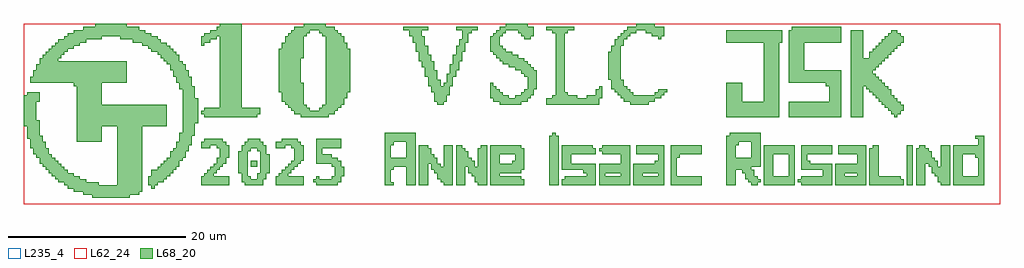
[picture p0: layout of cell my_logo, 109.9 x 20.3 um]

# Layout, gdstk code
import gdstk
lib = gdstk.Library(unit=1e-6, precision=1e-09)
def R(c, l, rs):  # rectangles x0, y0, x1, y1
    for r in rs: c.add(gdstk.rectangle(r[:2], r[2:], *l))
def A(c, l, x, y, w, h, nx, ny, dx, dy):  # array of equal rectangles
    R(c, l, [(x+i*dx, y+j*dy, x+i*dx+w, y+j*dy+h) for i in range(nx) for j in range(ny)])
L62_24 = (62, 24)
L68_20 = (68, 20)
L235_4 = (235, 4)

my_logo = lib.new_cell('my_logo')
R(my_logo, L62_24, [(0,0,109.9,20.3)])
A(my_logo, L68_20, 7.7, 0.7, 0.35, 0.35, 12, 1, 0.35, 0)
A(my_logo, L68_20, 6.65, 1.05, 0.35, 0.35, 18, 2, 0.35, 18.55)
A(my_logo, L68_20, 5.6, 1.4, 0.35, 0.35, 22, 1, 0.35, 0)
A(my_logo, L68_20, 4.9, 1.75, 0.35, 0.35, 24, 1, 0.35, 0)
A(my_logo, L68_20, 4.55, 2.1, 0.35, 0.35, 11, 1, 0.35, 0)
A(my_logo, L68_20, 10.5, 2.1, 0.35, 0.35, 8, 19, 0.35, 0.35)
A(my_logo, L68_20, 14, 2.1, 0.35, 0.35, 3, 1, 0.35, 0)
A(my_logo, L68_20, 19.95, 2.1, 0.35, 0.35, 9, 3, 0.35, 0.35)
A(my_logo, L68_20, 24.85, 2.1, 0.35, 0.35, 6, 2, 0.35, 4.55)
A(my_logo, L68_20, 28.35, 2.1, 0.35, 0.35, 9, 3, 0.35, 0.35)
A(my_logo, L68_20, 32.9, 2.1, 0.35, 0.35, 7, 2, 0.35, 2.8)
A(my_logo, L68_20, 40.6, 2.1, 0.35, 0.35, 3, 2, 0.35, 1.75)
A(my_logo, L68_20, 43.05, 2.1, 0.35, 0.35, 3, 6, 0.35, 0.35)
A(my_logo, L68_20, 44.45, 2.1, 0.35, 0.35, 3, 7, 0.35, 0.35)
A(my_logo, L68_20, 47.25, 2.1, 0.35, 0.35, 3, 2, 0.35, 2.1)
A(my_logo, L68_20, 48.65, 2.1, 0.35, 0.35, 3, 6, 0.35, 0.35)
A(my_logo, L68_20, 51.1, 2.1, 0.35, 0.35, 3, 2, 0.35, 2.1)
A(my_logo, L68_20, 52.5, 2.1, 0.35, 0.35, 11, 2, 0.35, 0.35)
A(my_logo, L68_20, 59.15, 2.1, 0.35, 0.35, 3, 16, 0.35, 0.35)
A(my_logo, L68_20, 60.55, 2.1, 0.35, 0.35, 11, 2, 0.35, 0.35)
A(my_logo, L68_20, 64.75, 2.1, 0.35, 0.35, 10, 3, 0.35, 0.35)
A(my_logo, L68_20, 68.6, 2.1, 0.35, 0.35, 10, 3, 0.35, 0.35)
A(my_logo, L68_20, 72.8, 2.1, 0.35, 0.35, 10, 3, 0.35, 0.35)
A(my_logo, L68_20, 79.1, 2.1, 0.35, 0.35, 3, 5, 0.35, 0.35)
A(my_logo, L68_20, 83.3, 2.1, 0.35, 0.35, 10, 3, 0.35, 0.35)
A(my_logo, L68_20, 87.5, 2.1, 0.35, 0.35, 10, 2, 0.35, 0.7)
A(my_logo, L68_20, 91.35, 2.1, 0.35, 0.35, 10, 3, 0.35, 0.35)
A(my_logo, L68_20, 95.2, 2.1, 0.35, 0.35, 11, 2, 0.35, 0.35)
A(my_logo, L68_20, 99.4, 2.1, 0.35, 0.35, 1, 13, 0, 0.35)
A(my_logo, L68_20, 99.75, 2.1, 0.35, 0.35, 1, 13, 0, 0.35)
A(my_logo, L68_20, 100.45, 2.1, 0.35, 0.35, 3, 7, 0.35, 0.35)
A(my_logo, L68_20, 103.25, 2.1, 0.35, 0.35, 3, 2, 0.35, 2.1)
A(my_logo, L68_20, 104.65, 2.1, 0.35, 0.35, 10, 3, 0.35, 0.35)
A(my_logo, L68_20, 3.85, 2.45, 0.35, 0.35, 9, 2, 0.35, 15.75)
A(my_logo, L68_20, 14, 2.45, 0.35, 0.35, 5, 1, 0.35, 0)
A(my_logo, L68_20, 24.5, 2.45, 0.35, 0.35, 7, 1, 0.35, 0)
A(my_logo, L68_20, 32.55, 2.45, 0.35, 0.35, 9, 1, 0.35, 0)
A(my_logo, L68_20, 40.6, 2.45, 0.35, 0.35, 1, 4, 0, 0.35)
A(my_logo, L68_20, 40.95, 2.45, 0.35, 0.35, 1, 4, 0, 0.35)
A(my_logo, L68_20, 46.9, 2.45, 0.35, 0.35, 4, 1, 0.35, 0)
A(my_logo, L68_20, 50.75, 2.45, 0.35, 0.35, 4, 2, 0.35, 0.35)
A(my_logo, L68_20, 81.55, 2.45, 0.35, 0.35, 4, 1, 0.35, 0)
A(my_logo, L68_20, 87.15, 2.45, 0.35, 0.35, 11, 1, 0.35, 0)
A(my_logo, L68_20, 102.9, 2.45, 0.35, 0.35, 4, 2, 0.35, 0.35)
A(my_logo, L68_20, 3.5, 2.8, 0.35, 0.35, 8, 2, 0.35, 15.05)
A(my_logo, L68_20, 14, 2.8, 0.35, 0.35, 6, 1, 0.35, 0)
A(my_logo, L68_20, 24.5, 2.8, 0.35, 0.35, 3, 2, 0.35, 3.15)
A(my_logo, L68_20, 26.25, 2.8, 0.35, 0.35, 3, 2, 0.35, 0.35)
A(my_logo, L68_20, 34.65, 2.8, 0.35, 0.35, 3, 2, 0.35, 1.4)
A(my_logo, L68_20, 46.55, 2.8, 0.35, 0.35, 5, 2, 0.35, 0.35)
A(my_logo, L68_20, 52.5, 2.8, 0.35, 0.35, 10, 2, 0.35, 0.7)
A(my_logo, L68_20, 60.9, 2.8, 0.35, 0.35, 10, 1, 0.35, 0)
A(my_logo, L68_20, 81.2, 2.8, 0.35, 0.35, 4, 1, 0.35, 0)
A(my_logo, L68_20, 95.2, 2.8, 0.35, 0.35, 10, 1, 0.35, 0)
A(my_logo, L68_20, 3.15, 3.15, 0.35, 0.35, 7, 2, 0.35, 14.35)
A(my_logo, L68_20, 14.35, 3.15, 0.35, 0.35, 6, 1, 0.35, 0)
A(my_logo, L68_20, 20.3, 3.15, 0.35, 0.35, 3, 1, 0.35, 0)
A(my_logo, L68_20, 28.7, 3.15, 0.35, 0.35, 3, 1, 0.35, 0)
A(my_logo, L68_20, 35, 3.15, 0.35, 0.35, 3, 3, 0.35, 0.35)
A(my_logo, L68_20, 50.4, 3.15, 0.35, 0.35, 5, 1, 0.35, 0)
A(my_logo, L68_20, 52.5, 3.15, 0.35, 0.35, 3, 2, 0.35, 1.4)
A(my_logo, L68_20, 63.35, 3.15, 0.35, 0.35, 3, 1, 0.35, 0)
A(my_logo, L68_20, 67.2, 3.15, 0.35, 0.35, 3, 2, 0.35, 1.4)
A(my_logo, L68_20, 68.6, 3.15, 0.35, 0.35, 3, 1, 0.35, 0)
A(my_logo, L68_20, 72.8, 3.15, 0.35, 0.35, 1, 6, 0, 0.35)
A(my_logo, L68_20, 73.15, 3.15, 0.35, 0.35, 1, 6, 0, 0.35)
A(my_logo, L68_20, 81.2, 3.15, 0.35, 0.35, 3, 1, 0.35, 0)
A(my_logo, L68_20, 83.3, 3.15, 0.35, 0.35, 3, 7, 0.35, 0.35)
A(my_logo, L68_20, 86.1, 3.15, 0.35, 0.35, 1, 7, 0, 0.35)
A(my_logo, L68_20, 86.45, 3.15, 0.35, 0.35, 1, 7, 0, 0.35)
A(my_logo, L68_20, 89.95, 3.15, 0.35, 0.35, 3, 2, 0.35, 0.35)
A(my_logo, L68_20, 91.35, 3.15, 0.35, 0.35, 3, 1, 0.35, 0)
A(my_logo, L68_20, 93.8, 3.15, 0.35, 0.35, 3, 2, 0.35, 1.4)
A(my_logo, L68_20, 95.2, 3.15, 0.35, 0.35, 3, 9, 0.35, 0.35)
A(my_logo, L68_20, 102.55, 3.15, 0.35, 0.35, 5, 1, 0.35, 0)
A(my_logo, L68_20, 104.65, 3.15, 0.35, 0.35, 3, 7, 0.35, 0.35)
A(my_logo, L68_20, 107.45, 3.15, 0.35, 0.35, 1, 6, 0, 0.35)
A(my_logo, L68_20, 107.8, 3.15, 0.35, 0.35, 1, 6, 0, 0.35)
A(my_logo, L68_20, 2.8, 3.5, 0.35, 0.35, 6, 2, 0.35, 13.65)
A(my_logo, L68_20, 14.35, 3.5, 0.35, 0.35, 7, 2, 0.35, 13.65)
A(my_logo, L68_20, 20.65, 3.5, 0.35, 0.35, 3, 1, 0.35, 0)
A(my_logo, L68_20, 24.15, 3.5, 0.35, 0.35, 3, 7, 0.35, 0.35)
A(my_logo, L68_20, 26.6, 3.5, 0.35, 0.35, 3, 6, 0.35, 0.35)
A(my_logo, L68_20, 29.05, 3.5, 0.35, 0.35, 3, 1, 0.35, 0)
A(my_logo, L68_20, 46.2, 3.5, 0.35, 0.35, 6, 1, 0.35, 0)
A(my_logo, L68_20, 50.05, 3.5, 0.35, 0.35, 6, 2, 0.35, 0.35)
A(my_logo, L68_20, 63, 3.5, 0.35, 0.35, 4, 1, 0.35, 0)
A(my_logo, L68_20, 64.75, 3.5, 0.35, 0.35, 10, 3, 0.35, 0.35)
A(my_logo, L68_20, 68.6, 3.5, 0.35, 0.35, 10, 3, 0.35, 0.35)
A(my_logo, L68_20, 80.85, 3.5, 0.35, 0.35, 4, 1, 0.35, 0)
A(my_logo, L68_20, 91.35, 3.5, 0.35, 0.35, 10, 3, 0.35, 0.35)
A(my_logo, L68_20, 102.2, 3.5, 0.35, 0.35, 6, 2, 0.35, 0.35)
A(my_logo, L68_20, 2.45, 3.85, 0.35, 0.35, 6, 2, 0.35, 12.95)
A(my_logo, L68_20, 15.05, 3.85, 0.35, 0.35, 6, 2, 0.35, 12.95)
A(my_logo, L68_20, 21, 3.85, 0.35, 0.35, 3, 1, 0.35, 0)
A(my_logo, L68_20, 29.4, 3.85, 0.35, 0.35, 3, 1, 0.35, 0)
A(my_logo, L68_20, 45.85, 3.85, 0.35, 0.35, 7, 1, 0.35, 0)
A(my_logo, L68_20, 52.5, 3.85, 0.35, 0.35, 11, 2, 0.35, 0.35)
A(my_logo, L68_20, 60.55, 3.85, 0.35, 0.35, 11, 2, 0.35, 0.35)
A(my_logo, L68_20, 79.1, 3.85, 0.35, 0.35, 8, 1, 0.35, 0)
A(my_logo, L68_20, 87.5, 3.85, 0.35, 0.35, 10, 2, 0.35, 0.35)
A(my_logo, L68_20, 2.1, 4.2, 0.35, 0.35, 6, 2, 0.35, 12.25)
A(my_logo, L68_20, 15.4, 4.2, 0.35, 0.35, 6, 2, 0.35, 12.25)
A(my_logo, L68_20, 21.35, 4.2, 0.35, 0.35, 3, 1, 0.35, 0)
A(my_logo, L68_20, 29.75, 4.2, 0.35, 0.35, 3, 1, 0.35, 0)
A(my_logo, L68_20, 40.6, 4.2, 0.35, 0.35, 10, 3, 0.35, 0.35)
A(my_logo, L68_20, 45.85, 4.2, 0.35, 0.35, 3, 1, 0.35, 0)
A(my_logo, L68_20, 48.65, 4.2, 0.35, 0.35, 6, 2, 0.35, 0.35)
A(my_logo, L68_20, 79.1, 4.2, 0.35, 0.35, 11, 3, 0.35, 0.35)
A(my_logo, L68_20, 101.85, 4.2, 0.35, 0.35, 3, 1, 0.35, 0)
A(my_logo, L68_20, 1.75, 4.55, 0.35, 0.35, 6, 2, 0.35, 11.55)
A(my_logo, L68_20, 15.75, 4.55, 0.35, 0.35, 5, 2, 0.35, 11.55)
A(my_logo, L68_20, 21.7, 4.55, 0.35, 0.35, 3, 2, 0.35, 0.35)
A(my_logo, L68_20, 30.1, 4.55, 0.35, 0.35, 3, 1, 0.35, 0)
A(my_logo, L68_20, 32.9, 4.55, 0.35, 0.35, 8, 2, 0.35, 1.75)
A(my_logo, L68_20, 44.45, 4.55, 0.35, 0.35, 6, 2, 0.35, 0.35)
A(my_logo, L68_20, 47.25, 4.55, 0.35, 0.35, 3, 6, 0.35, 0.35)
A(my_logo, L68_20, 51.1, 4.55, 0.35, 0.35, 3, 5, 0.35, 0.35)
A(my_logo, L68_20, 54.95, 4.55, 0.35, 0.35, 4, 1, 0.35, 0)
A(my_logo, L68_20, 60.55, 4.55, 0.35, 0.35, 3, 3, 0.35, 0.35)
A(my_logo, L68_20, 71.05, 4.55, 0.35, 0.35, 3, 2, 0.35, 7.7)
A(my_logo, L68_20, 87.5, 4.55, 0.35, 0.35, 3, 1, 0.35, 0)
A(my_logo, L68_20, 100.45, 4.55, 0.35, 0.35, 7, 1, 0.35, 0)
A(my_logo, L68_20, 103.25, 4.55, 0.35, 0.35, 3, 6, 0.35, 0.35)
A(my_logo, L68_20, 1.75, 4.9, 0.35, 0.35, 5, 1, 0.35, 0)
A(my_logo, L68_20, 16.1, 4.9, 0.35, 0.35, 5, 2, 0.35, 10.85)
A(my_logo, L68_20, 30.45, 4.9, 0.35, 0.35, 3, 4, 0.35, 0.35)
A(my_logo, L68_20, 48.65, 4.9, 0.35, 0.35, 5, 1, 0.35, 0)
A(my_logo, L68_20, 52.5, 4.9, 0.35, 0.35, 3, 2, 0.35, 0.35)
A(my_logo, L68_20, 55.3, 4.9, 0.35, 0.35, 3, 2, 0.35, 0.35)
A(my_logo, L68_20, 67.2, 4.9, 0.35, 0.35, 3, 2, 0.35, 0.35)
A(my_logo, L68_20, 93.8, 4.9, 0.35, 0.35, 3, 2, 0.35, 0.35)
A(my_logo, L68_20, 100.45, 4.9, 0.35, 0.35, 6, 1, 0.35, 0)
A(my_logo, L68_20, 1.4, 5.25, 0.35, 0.35, 5, 1, 0.35, 0)
A(my_logo, L68_20, 16.45, 5.25, 0.35, 0.35, 5, 2, 0.35, 0.35)
A(my_logo, L68_20, 22.05, 5.25, 0.35, 0.35, 3, 3, 0.35, 0.35)
A(my_logo, L68_20, 32.9, 5.25, 0.35, 0.35, 5, 1, 0.35, 0)
A(my_logo, L68_20, 40.6, 5.25, 0.35, 0.35, 1, 4, 0, 0.35)
A(my_logo, L68_20, 40.95, 5.25, 0.35, 0.35, 1, 4, 0, 0.35)
A(my_logo, L68_20, 43.05, 5.25, 0.35, 0.35, 3, 5, 0.35, 0.35)
A(my_logo, L68_20, 44.45, 5.25, 0.35, 0.35, 5, 1, 0.35, 0)
A(my_logo, L68_20, 48.65, 5.25, 0.35, 0.35, 4, 2, 0.35, 0.35)
A(my_logo, L68_20, 72.8, 5.25, 0.35, 0.35, 3, 1, 0.35, 0)
A(my_logo, L68_20, 79.1, 5.25, 0.35, 0.35, 3, 4, 0.35, 0.35)
A(my_logo, L68_20, 81.9, 5.25, 0.35, 0.35, 3, 5, 0.35, 0.35)
A(my_logo, L68_20, 100.45, 5.25, 0.35, 0.35, 5, 2, 0.35, 0.35)
A(my_logo, L68_20, 107.1, 5.25, 0.35, 0.35, 3, 2, 0.35, 2.1)
A(my_logo, L68_20, 1.05, 5.6, 0.35, 0.35, 5, 2, 0.35, 0.35)
A(my_logo, L68_20, 44.45, 5.6, 0.35, 0.35, 4, 2, 0.35, 0.35)
A(my_logo, L68_20, 52.5, 5.6, 0.35, 0.35, 11, 2, 0.35, 0.35)
A(my_logo, L68_20, 60.55, 5.6, 0.35, 0.35, 11, 2, 0.35, 0.35)
A(my_logo, L68_20, 65.1, 5.6, 0.35, 0.35, 9, 2, 0.35, 0.7)
A(my_logo, L68_20, 68.95, 5.6, 0.35, 0.35, 9, 3, 0.35, 0.35)
A(my_logo, L68_20, 72.8, 5.6, 0.35, 0.35, 10, 3, 0.35, 0.35)
A(my_logo, L68_20, 83.3, 5.6, 0.35, 0.35, 10, 3, 0.35, 0.35)
A(my_logo, L68_20, 87.5, 5.6, 0.35, 0.35, 10, 3, 0.35, 0.35)
A(my_logo, L68_20, 91.7, 5.6, 0.35, 0.35, 9, 3, 0.35, 0.35)
A(my_logo, L68_20, 104.65, 5.6, 0.35, 0.35, 10, 3, 0.35, 0.35)
A(my_logo, L68_20, 16.8, 5.95, 0.35, 0.35, 5, 2, 0.35, 8.4)
A(my_logo, L68_20, 26.25, 5.95, 0.35, 0.35, 3, 1, 0.35, 0)
A(my_logo, L68_20, 48.65, 5.95, 0.35, 0.35, 3, 2, 0.35, 11.2)
A(my_logo, L68_20, 64.75, 5.95, 0.35, 0.35, 10, 1, 0.35, 0)
A(my_logo, L68_20, 100.45, 5.95, 0.35, 0.35, 4, 1, 0.35, 0)
A(my_logo, L68_20, 0.7, 6.3, 0.35, 0.35, 5, 2, 0.35, 0.35)
A(my_logo, L68_20, 17.15, 6.3, 0.35, 0.35, 4, 1, 0.35, 0)
A(my_logo, L68_20, 19.95, 6.3, 0.35, 0.35, 3, 2, 0.35, 11.9)
A(my_logo, L68_20, 21.7, 6.3, 0.35, 0.35, 4, 1, 0.35, 0)
A(my_logo, L68_20, 24.5, 6.3, 0.35, 0.35, 8, 1, 0.35, 0)
A(my_logo, L68_20, 28.35, 6.3, 0.35, 0.35, 3, 1, 0.35, 0)
A(my_logo, L68_20, 30.1, 6.3, 0.35, 0.35, 4, 1, 0.35, 0)
A(my_logo, L68_20, 44.45, 6.3, 0.35, 0.35, 3, 2, 0.35, 10.5)
A(my_logo, L68_20, 52.5, 6.3, 0.35, 0.35, 10, 1, 0.35, 0)
A(my_logo, L68_20, 60.55, 6.3, 0.35, 0.35, 10, 1, 0.35, 0)
A(my_logo, L68_20, 17.15, 6.65, 0.35, 0.35, 5, 2, 0.35, 7)
A(my_logo, L68_20, 19.95, 6.65, 0.35, 0.35, 8, 1, 0.35, 0)
A(my_logo, L68_20, 28.35, 6.65, 0.35, 0.35, 8, 1, 0.35, 0)
A(my_logo, L68_20, 32.9, 6.65, 0.35, 0.35, 8, 2, 0.35, 0.35)
A(my_logo, L68_20, 40.6, 6.65, 0.35, 0.35, 3, 1, 0.35, 0)
A(my_logo, L68_20, 79.1, 6.65, 0.35, 0.35, 4, 1, 0.35, 0)
A(my_logo, L68_20, 0.7, 7, 0.35, 0.35, 4, 1, 0.35, 0)
A(my_logo, L68_20, 5.95, 7, 0.35, 0.35, 8, 5, 0.35, 0.35)
A(my_logo, L68_20, 17.5, 7, 0.35, 0.35, 4, 2, 0.35, 0.35)
A(my_logo, L68_20, 20.3, 7, 0.35, 0.35, 6, 1, 0.35, 0)
A(my_logo, L68_20, 25.2, 7, 0.35, 0.35, 4, 1, 0.35, 0)
A(my_logo, L68_20, 29.05, 7, 0.35, 0.35, 5, 1, 0.35, 0)
A(my_logo, L68_20, 40.6, 7, 0.35, 0.35, 10, 3, 0.35, 0.35)
A(my_logo, L68_20, 79.1, 7, 0.35, 0.35, 11, 2, 0.35, 0.35)
A(my_logo, L68_20, 0.35, 7.35, 0.35, 0.35, 5, 1, 0.35, 0)
A(my_logo, L68_20, 0.35, 7.7, 0.35, 0.35, 4, 3, 0.35, 0.35)
A(my_logo, L68_20, 17.5, 7.7, 0.35, 0.35, 5, 2, 0.35, 5.25)
A(my_logo, L68_20, 79.45, 7.7, 0.35, 0.35, 10, 1, 0.35, 0)
A(my_logo, L68_20, 17.85, 8.05, 0.35, 0.35, 4, 3, 0.35, 0.35)
A(my_logo, L68_20, 0, 8.75, 0.35, 0.35, 5, 2, 0.35, 0.35)
A(my_logo, L68_20, 5.95, 8.75, 0.35, 0.35, 29, 7, 0.35, 0.35)
A(my_logo, L68_20, 17.85, 9.1, 0.35, 0.35, 5, 8, 0.35, 0.35)
A(my_logo, L68_20, 0, 9.45, 0.35, 0.35, 4, 6, 0.35, 0.35)
A(my_logo, L68_20, 20.3, 9.8, 0.35, 0.35, 17, 1, 0.35, 0)
A(my_logo, L68_20, 31.15, 9.8, 0.35, 0.35, 9, 1, 0.35, 0)
A(my_logo, L68_20, 79.1, 9.8, 0.35, 0.35, 17, 5, 0.35, 0.35)
A(my_logo, L68_20, 86.1, 9.8, 0.35, 0.35, 17, 5, 0.35, 0.35)
A(my_logo, L68_20, 93.1, 9.8, 0.35, 0.35, 4, 10, 0.35, 0.35)
A(my_logo, L68_20, 19.95, 10.15, 0.35, 0.35, 19, 1, 0.35, 0)
A(my_logo, L68_20, 30.45, 10.15, 0.35, 0.35, 13, 2, 0.35, 9.45)
A(my_logo, L68_20, 97.65, 10.15, 0.35, 0.35, 3, 1, 0.35, 0)
A(my_logo, L68_20, 20.3, 10.5, 0.35, 0.35, 18, 1, 0.35, 0)
A(my_logo, L68_20, 30.1, 10.5, 0.35, 0.35, 6, 2, 0.35, 8.75)
A(my_logo, L68_20, 33.25, 10.5, 0.35, 0.35, 6, 2, 0.35, 8.75)
A(my_logo, L68_20, 97.3, 10.5, 0.35, 0.35, 5, 1, 0.35, 0)
A(my_logo, L68_20, 22.05, 10.85, 0.35, 0.35, 7, 23, 0.35, 0.35)
A(my_logo, L68_20, 29.75, 10.85, 0.35, 0.35, 6, 2, 0.35, 8.05)
A(my_logo, L68_20, 33.6, 10.85, 0.35, 0.35, 6, 2, 0.35, 8.05)
A(my_logo, L68_20, 96.95, 10.85, 0.35, 0.35, 6, 2, 0.35, 7.7)
A(my_logo, L68_20, 5.95, 11.2, 0.35, 0.35, 8, 6, 0.35, 0.35)
A(my_logo, L68_20, 29.4, 11.2, 0.35, 0.35, 6, 2, 0.35, 7)
A(my_logo, L68_20, 33.95, 11.2, 0.35, 0.35, 6, 2, 0.35, 0.35)
A(my_logo, L68_20, 53.55, 11.2, 0.35, 0.35, 7, 1, 0.35, 0)
A(my_logo, L68_20, 58.8, 11.2, 0.35, 0.35, 17, 2, 0.35, 0.35)
A(my_logo, L68_20, 68.25, 11.2, 0.35, 0.35, 6, 1, 0.35, 0)
A(my_logo, L68_20, 96.6, 11.2, 0.35, 0.35, 6, 1, 0.35, 0)
A(my_logo, L68_20, 0, 11.55, 0.35, 0.35, 5, 2, 0.35, 0.35)
A(my_logo, L68_20, 29.05, 11.55, 0.35, 0.35, 7, 3, 0.35, 0.35)
A(my_logo, L68_20, 46.2, 11.55, 0.35, 0.35, 4, 2, 0.35, 0.35)
A(my_logo, L68_20, 52.85, 11.55, 0.35, 0.35, 11, 1, 0.35, 0)
A(my_logo, L68_20, 67.55, 11.55, 0.35, 0.35, 10, 1, 0.35, 0)
A(my_logo, L68_20, 79.1, 11.55, 0.35, 0.35, 5, 6, 0.35, 0.35)
A(my_logo, L68_20, 83.3, 11.55, 0.35, 0.35, 5, 19, 0.35, 0.35)
A(my_logo, L68_20, 90.65, 11.55, 0.35, 0.35, 4, 5, 0.35, 0.35)
A(my_logo, L68_20, 96.25, 11.55, 0.35, 0.35, 6, 1, 0.35, 0)
A(my_logo, L68_20, 17.85, 11.9, 0.35, 0.35, 4, 3, 0.35, 0.35)
A(my_logo, L68_20, 33.95, 11.9, 0.35, 0.35, 7, 2, 0.35, 0.35)
A(my_logo, L68_20, 52.5, 11.9, 0.35, 0.35, 6, 1, 0.35, 0)
A(my_logo, L68_20, 55.3, 11.9, 0.35, 0.35, 5, 1, 0.35, 0)
A(my_logo, L68_20, 59.5, 11.9, 0.35, 0.35, 8, 1, 0.35, 0)
A(my_logo, L68_20, 63.35, 11.9, 0.35, 0.35, 5, 1, 0.35, 0)
A(my_logo, L68_20, 67.2, 11.9, 0.35, 0.35, 13, 1, 0.35, 0)
A(my_logo, L68_20, 95.9, 11.9, 0.35, 0.35, 6, 1, 0.35, 0)
A(my_logo, L68_20, 0.35, 12.25, 0.35, 0.35, 4, 1, 0.35, 0)
A(my_logo, L68_20, 46.2, 12.25, 0.35, 0.35, 5, 1, 0.35, 0)
A(my_logo, L68_20, 52.5, 12.25, 0.35, 0.35, 4, 2, 0.35, 5.25)
A(my_logo, L68_20, 56, 12.25, 0.35, 0.35, 4, 2, 0.35, 6.65)
A(my_logo, L68_20, 59.85, 12.25, 0.35, 0.35, 4, 1, 0.35, 0)
A(my_logo, L68_20, 64.75, 12.25, 0.35, 0.35, 1, 3, 0, 0.35)
A(my_logo, L68_20, 66.85, 12.25, 0.35, 0.35, 5, 1, 0.35, 0)
A(my_logo, L68_20, 95.55, 12.25, 0.35, 0.35, 6, 1, 0.35, 0)
A(my_logo, L68_20, 28.7, 12.6, 0.35, 0.35, 8, 3, 0.35, 0.35)
A(my_logo, L68_20, 33.95, 12.6, 0.35, 0.35, 8, 14, 0.35, 0.35)
A(my_logo, L68_20, 45.85, 12.6, 0.35, 0.35, 6, 2, 0.35, 0.35)
A(my_logo, L68_20, 52.5, 12.6, 0.35, 0.35, 3, 2, 0.35, 5.25)
A(my_logo, L68_20, 56.35, 12.6, 0.35, 0.35, 3, 1, 0.35, 0)
A(my_logo, L68_20, 59.85, 12.6, 0.35, 0.35, 3, 19, 0.35, 0.35)
A(my_logo, L68_20, 66.5, 12.6, 0.35, 0.35, 5, 1, 0.35, 0)
A(my_logo, L68_20, 71.4, 12.6, 0.35, 0.35, 3, 1, 0.35, 0)
A(my_logo, L68_20, 95.2, 12.6, 0.35, 0.35, 7, 2, 0.35, 4.2)
A(my_logo, L68_20, 56.7, 12.95, 0.35, 0.35, 3, 4, 0.35, 0.35)
A(my_logo, L68_20, 66.15, 12.95, 0.35, 0.35, 5, 1, 0.35, 0)
A(my_logo, L68_20, 94.85, 12.95, 0.35, 0.35, 7, 1, 0.35, 0)
A(my_logo, L68_20, 5.6, 13.3, 0.35, 0.35, 9, 1, 0.35, 0)
A(my_logo, L68_20, 17.5, 13.3, 0.35, 0.35, 4, 1, 0.35, 0)
A(my_logo, L68_20, 45.5, 13.3, 0.35, 0.35, 4, 2, 0.35, 0.35)
A(my_logo, L68_20, 47.25, 13.3, 0.35, 0.35, 3, 1, 0.35, 0)
A(my_logo, L68_20, 66.15, 13.3, 0.35, 0.35, 4, 2, 0.35, 0.35)
A(my_logo, L68_20, 90.3, 13.3, 0.35, 0.35, 5, 1, 0.35, 0)
A(my_logo, L68_20, 93.1, 13.3, 0.35, 0.35, 11, 2, 0.35, 2.8)
A(my_logo, L68_20, 0.7, 13.65, 0.35, 0.35, 31, 2, 0.35, 0.35)
A(my_logo, L68_20, 28.7, 13.65, 0.35, 0.35, 7, 8, 0.35, 0.35)
A(my_logo, L68_20, 86.1, 13.65, 0.35, 0.35, 17, 4, 0.35, 0.35)
A(my_logo, L68_20, 93.1, 13.65, 0.35, 0.35, 10, 2, 0.35, 2.1)
A(my_logo, L68_20, 17.15, 14, 0.35, 0.35, 5, 1, 0.35, 0)
A(my_logo, L68_20, 45.5, 14, 0.35, 0.35, 3, 1, 0.35, 0)
A(my_logo, L68_20, 65.8, 14, 0.35, 0.35, 4, 9, 0.35, 0.35)
A(my_logo, L68_20, 93.1, 14, 0.35, 0.35, 9, 2, 0.35, 1.4)
A(my_logo, L68_20, 1.05, 14.35, 0.35, 0.35, 30, 2, 0.35, 0.35)
A(my_logo, L68_20, 45.15, 14.35, 0.35, 0.35, 4, 2, 0.35, 0.35)
A(my_logo, L68_20, 47.6, 14.35, 0.35, 0.35, 3, 1, 0.35, 0)
A(my_logo, L68_20, 56.35, 14.35, 0.35, 0.35, 4, 1, 0.35, 0)
A(my_logo, L68_20, 93.1, 14.35, 0.35, 0.35, 8, 2, 0.35, 0.7)
A(my_logo, L68_20, 16.8, 14.7, 0.35, 0.35, 5, 1, 0.35, 0)
A(my_logo, L68_20, 56, 14.7, 0.35, 0.35, 5, 1, 0.35, 0)
A(my_logo, L68_20, 93.1, 14.7, 0.35, 0.35, 7, 1, 0.35, 0)
A(my_logo, L68_20, 1.4, 15.05, 0.35, 0.35, 29, 2, 0.35, 0.35)
A(my_logo, L68_20, 16.45, 15.05, 0.35, 0.35, 5, 2, 0.35, 0.35)
A(my_logo, L68_20, 45.15, 15.05, 0.35, 0.35, 3, 1, 0.35, 0)
A(my_logo, L68_20, 47.95, 15.05, 0.35, 0.35, 3, 2, 0.35, 0.35)
A(my_logo, L68_20, 55.3, 15.05, 0.35, 0.35, 6, 1, 0.35, 0)
A(my_logo, L68_20, 86.1, 15.05, 0.35, 0.35, 5, 9, 0.35, 0.35)
A(my_logo, L68_20, 44.8, 15.4, 0.35, 0.35, 4, 2, 0.35, 0.35)
A(my_logo, L68_20, 54.6, 15.4, 0.35, 0.35, 7, 1, 0.35, 0)
A(my_logo, L68_20, 1.75, 15.75, 0.35, 0.35, 28, 1, 0.35, 0)
A(my_logo, L68_20, 53.9, 15.75, 0.35, 0.35, 8, 1, 0.35, 0)
A(my_logo, L68_20, 44.45, 16.1, 0.35, 0.35, 4, 2, 0.35, 0.35)
A(my_logo, L68_20, 48.3, 16.1, 0.35, 0.35, 3, 2, 0.35, 0.35)
A(my_logo, L68_20, 53.55, 16.1, 0.35, 0.35, 8, 1, 0.35, 0)
A(my_logo, L68_20, 28.7, 16.45, 0.35, 0.35, 8, 3, 0.35, 0.35)
A(my_logo, L68_20, 53.2, 16.45, 0.35, 0.35, 7, 1, 0.35, 0)
A(my_logo, L68_20, 93.1, 16.45, 0.35, 0.35, 4, 9, 0.35, 0.35)
A(my_logo, L68_20, 95.2, 16.45, 0.35, 0.35, 6, 1, 0.35, 0)
A(my_logo, L68_20, 52.85, 16.8, 0.35, 0.35, 6, 1, 0.35, 0)
A(my_logo, L68_20, 44.1, 17.15, 0.35, 0.35, 4, 2, 0.35, 0.35)
A(my_logo, L68_20, 52.5, 17.15, 0.35, 0.35, 5, 1, 0.35, 0)
A(my_logo, L68_20, 66.15, 17.15, 0.35, 0.35, 3, 2, 0.35, 0.35)
A(my_logo, L68_20, 95.55, 17.15, 0.35, 0.35, 7, 1, 0.35, 0)
A(my_logo, L68_20, 14, 17.5, 0.35, 0.35, 7, 1, 0.35, 0)
A(my_logo, L68_20, 29.05, 17.5, 0.35, 0.35, 7, 2, 0.35, 0.35)
A(my_logo, L68_20, 33.95, 17.5, 0.35, 0.35, 7, 2, 0.35, 0.35)
A(my_logo, L68_20, 48.65, 17.5, 0.35, 0.35, 3, 1, 0.35, 0)
A(my_logo, L68_20, 95.9, 17.5, 0.35, 0.35, 7, 1, 0.35, 0)
A(my_logo, L68_20, 13.3, 17.85, 0.35, 0.35, 8, 1, 0.35, 0)
A(my_logo, L68_20, 44.1, 17.85, 0.35, 0.35, 3, 1, 0.35, 0)
A(my_logo, L68_20, 66.5, 17.85, 0.35, 0.35, 3, 2, 0.35, 0.35)
A(my_logo, L68_20, 96.25, 17.85, 0.35, 0.35, 7, 1, 0.35, 0)
A(my_logo, L68_20, 12.25, 18.2, 0.35, 0.35, 9, 1, 0.35, 0)
A(my_logo, L68_20, 33.95, 18.2, 0.35, 0.35, 6, 2, 0.35, 0.35)
A(my_logo, L68_20, 43.75, 18.2, 0.35, 0.35, 4, 2, 0.35, 0.35)
A(my_logo, L68_20, 49, 18.2, 0.35, 0.35, 3, 1, 0.35, 0)
A(my_logo, L68_20, 52.5, 18.2, 0.35, 0.35, 3, 2, 0.35, 0.35)
A(my_logo, L68_20, 79.1, 18.2, 0.35, 0.35, 18, 4, 0.35, 0.35)
A(my_logo, L68_20, 86.1, 18.2, 0.35, 0.35, 17, 4, 0.35, 0.35)
A(my_logo, L68_20, 96.6, 18.2, 0.35, 0.35, 7, 1, 0.35, 0)
A(my_logo, L68_20, 4.55, 18.55, 0.35, 0.35, 12, 1, 0.35, 0)
A(my_logo, L68_20, 10.85, 18.55, 0.35, 0.35, 12, 1, 0.35, 0)
A(my_logo, L68_20, 19.95, 18.55, 0.35, 0.35, 5, 1, 0.35, 0)
A(my_logo, L68_20, 29.4, 18.55, 0.35, 0.35, 6, 1, 0.35, 0)
A(my_logo, L68_20, 66.85, 18.55, 0.35, 0.35, 3, 1, 0.35, 0)
A(my_logo, L68_20, 4.9, 18.9, 0.35, 0.35, 27, 1, 0.35, 0)
A(my_logo, L68_20, 20.3, 18.9, 0.35, 0.35, 12, 1, 0.35, 0)
A(my_logo, L68_20, 43.4, 18.9, 0.35, 0.35, 4, 2, 0.35, 0.35)
A(my_logo, L68_20, 52.85, 18.9, 0.35, 0.35, 3, 1, 0.35, 0)
A(my_logo, L68_20, 67.2, 18.9, 0.35, 0.35, 3, 1, 0.35, 0)
A(my_logo, L68_20, 70.7, 18.9, 0.35, 0.35, 4, 1, 0.35, 0)
A(my_logo, L68_20, 97.3, 18.9, 0.35, 0.35, 4, 1, 0.35, 0)
A(my_logo, L68_20, 5.6, 19.25, 0.35, 0.35, 23, 1, 0.35, 0)
A(my_logo, L68_20, 21, 19.25, 0.35, 0.35, 10, 1, 0.35, 0)
A(my_logo, L68_20, 49.35, 19.25, 0.35, 0.35, 3, 1, 0.35, 0)
A(my_logo, L68_20, 53.2, 19.25, 0.35, 0.35, 3, 1, 0.35, 0)
A(my_logo, L68_20, 55.65, 19.25, 0.35, 0.35, 5, 1, 0.35, 0)
A(my_logo, L68_20, 59.5, 19.25, 0.35, 0.35, 5, 1, 0.35, 0)
A(my_logo, L68_20, 67.55, 19.25, 0.35, 0.35, 4, 1, 0.35, 0)
A(my_logo, L68_20, 70, 19.25, 0.35, 0.35, 6, 1, 0.35, 0)
A(my_logo, L68_20, 21.7, 19.6, 0.35, 0.35, 8, 1, 0.35, 0)
A(my_logo, L68_20, 42.7, 19.6, 0.35, 0.35, 8, 1, 0.35, 0)
A(my_logo, L68_20, 48.65, 19.6, 0.35, 0.35, 7, 1, 0.35, 0)
A(my_logo, L68_20, 53.55, 19.6, 0.35, 0.35, 11, 1, 0.35, 0)
A(my_logo, L68_20, 58.8, 19.6, 0.35, 0.35, 9, 1, 0.35, 0)
A(my_logo, L68_20, 67.9, 19.6, 0.35, 0.35, 12, 1, 0.35, 0)
A(my_logo, L68_20, 86.45, 19.6, 0.35, 0.35, 16, 1, 0.35, 0)
A(my_logo, L68_20, 8.05, 19.95, 0.35, 0.35, 10, 1, 0.35, 0)
A(my_logo, L68_20, 22.05, 19.95, 0.35, 0.35, 7, 1, 0.35, 0)
A(my_logo, L68_20, 31.5, 19.95, 0.35, 0.35, 7, 1, 0.35, 0)
A(my_logo, L68_20, 54.25, 19.95, 0.35, 0.35, 7, 1, 0.35, 0)
A(my_logo, L68_20, 68.95, 19.95, 0.35, 0.35, 6, 1, 0.35, 0)
R(my_logo, L68_20, [(14.35,1.75,14.7,2.1), (81.9,2.1,82.25,2.45), (82.25,2.1,82.6,2.45), (32.9,2.8,33.25,3.15), (24.5,3.15,24.85,3.5), (24.85,3.15,25.2,3.5), (64.75,3.15,65.1,3.5), (65.1,3.15,65.45,3.5), (71.4,3.15,71.75,3.5), (71.75,3.15,72.1,3.5), (25.55,4.2,25.9,4.55), (25.9,4.2,26.25,4.55), (25.55,4.55,25.9,4.9), (25.9,4.55,26.25,4.9), (71.4,4.9,71.75,5.25), (71.75,4.9,72.1,5.25), (87.5,4.9,87.85,5.25), (87.85,4.9,88.2,5.25), (71.4,5.25,71.75,5.6), (71.75,5.25,72.1,5.6), (87.5,5.25,87.85,5.6), (87.85,5.25,88.2,5.6), (26.6,5.6,26.95,5.95), (26.95,5.6,27.3,5.95), (32.9,5.6,33.25,5.95), (33.25,5.6,33.6,5.95), (32.9,5.95,33.25,6.3), (33.25,5.95,33.6,6.3), (48.65,6.3,49,6.65), (49,6.3,49.35,6.65), (51.45,6.3,51.8,6.65), (51.8,6.3,52.15,6.65), (95.55,6.3,95.9,6.65), (95.9,6.3,96.25,6.65), (100.8,6.3,101.15,6.65), (101.15,6.3,101.5,6.65), (107.45,6.65,107.8,7), (107.8,6.65,108.15,7), (107.45,7,107.8,7.35), (107.8,7,108.15,7.35), (59.5,7.7,59.85,8.05), (98,9.8,98.35,10.15), (46.55,11.2,46.9,11.55), (46.9,11.2,47.25,11.55), (64.4,12.25,64.75,12.6), (64.4,12.6,64.75,12.95), (52.5,12.95,52.85,13.3), (52.85,12.95,53.2,13.3), (52.5,13.3,52.85,13.65), (47.6,13.65,47.95,14), (47.95,13.65,48.3,14), (47.6,14,47.95,14.35), (47.95,14,48.3,14.35), (47.95,14.7,48.3,15.05), (48.3,14.7,48.65,15.05), (48.3,15.75,48.65,16.1), (48.65,15.75,49,16.1), (48.65,16.8,49,17.15), (49,16.8,49.35,17.15), (19.95,17.85,20.3,18.2), (49,17.85,49.35,18.2), (49.35,17.85,49.7,18.2), (49.35,18.55,49.7,18.9), (49.7,18.55,50.05,18.9), (56.35,18.55,56.7,18.9), (56.7,18.55,57.05,18.9), (71.4,18.55,71.75,18.9), (49.35,18.9,49.7,19.25), (49.7,18.9,50.05,19.25), (97.65,19.25,98,19.6), (98,19.25,98.35,19.6)])
R(my_logo, L235_4, [(0,0,109.9,20.3)])

lib.write_gds('my_logo.gds')
